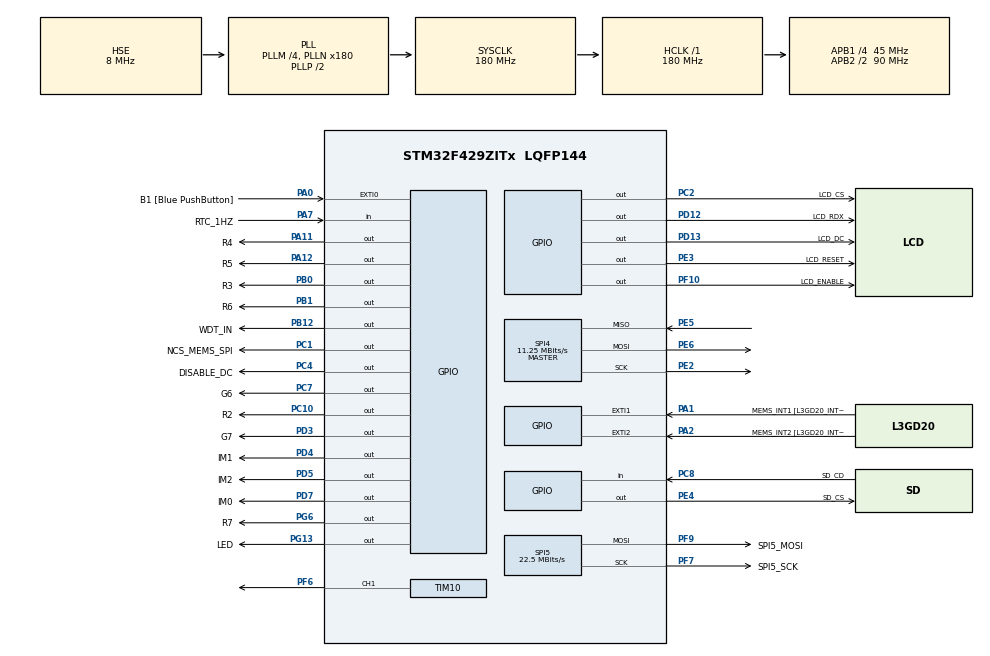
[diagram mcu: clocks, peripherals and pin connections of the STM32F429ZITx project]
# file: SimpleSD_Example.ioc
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FATFS._MAX_SS=4096
IWDG.Prescaler=IWDG_PRESCALER_256
IWDG.Reload=2500-1
Mcu.Family=STM32F4
Mcu.Name=STM32F429ZITx
Mcu.Package=LQFP144
NVIC.PriorityGroup=NVIC_PRIORITYGROUP_4
NVIC.TIM6_DAC_IRQn=true\:0\:0\:false\:false\:true\:false\:true
NVIC.TimeBase=TIM6_DAC_IRQn
NVIC.TimeBaseIP=TIM6
PA0/WKUP.GPIO_Label=B1 [Blue PushButton]
PA0/WKUP.GPIO_ModeDefaultEXTI=GPIO_MODE_EVT_RISING
PA0/WKUP.GPIO_PuPd=GPIO_NOPULL
PA0/WKUP.Signal=GPXTI0
PA1.GPIO_Label=MEMS_INT1 [L3GD20_INT1]
PA1.GPIO_ModeDefaultEXTI=GPIO_MODE_EVT_RISING
PA1.GPIO_PuPd=GPIO_NOPULL
PA1.Signal=GPXTI1
PA11.GPIO_Label=R4
PA11.Signal=GPIO_Output
PA12.GPIO_Label=R5
PA12.Signal=GPIO_Output
PA13.GPIO_Label=SWDIO
PA13.Mode=Serial_Wire
PA13.Signal=SYS_JTMS-SWDIO
PA14.GPIO_Label=SWCLK
PA14.Mode=Serial_Wire
PA14.Signal=SYS_JTCK-SWCLK
PA2.GPIO_Label=MEMS_INT2 [L3GD20_INT2]
PA2.GPIO_ModeDefaultEXTI=GPIO_MODE_EVT_RISING
PA2.GPIO_PuPd=GPIO_NOPULL
PA2.Signal=GPXTI2
PA7.GPIO_Label=RTC_1HZ
PA7.Signal=GPIO_Input
PB0.GPIO_Label=R3
PB0.Signal=GPIO_Output
PB1.GPIO_Label=R6
PB1.Signal=GPIO_Output
PB12.GPIO_Label=WDT_IN
PB12.GPIO_Speed=GPIO_SPEED_FREQ_HIGH
PB12.Signal=GPIO_Output
PC1.GPIO_Label=NCS_MEMS_SPI
PC1.GPIO_Mode=GPIO_MODE_OUTPUT_PP
PC1.GPIO_PuPd=GPIO_NOPULL
PC1.GPIO_Speed=GPIO_SPEED_FREQ_LOW
PC1.Signal=GPIO_Output
PC10.GPIO_Label=R2
PC10.Signal=GPIO_Output
PC2.GPIO_Label=LCD_CS
PC2.GPIO_Mode=GPIO_MODE_OUTPUT_PP
PC2.GPIO_PuPd=GPIO_NOPULL
PC2.GPIO_Speed=GPIO_SPEED_FREQ_LOW
PC2.Signal=GPIO_Output
PC4.GPIO_Label=DISABLE_DC
PC4.PinState=GPIO_PIN_SET
PC4.Signal=GPIO_Output
PC7.GPIO_Label=G6
PC7.Signal=GPIO_Output
PC8.GPIO_Label=SD_CD
PC8.Signal=GPIO_Input
PD12.GPIO_Label=LCD_RDX
PD12.GPIO_Mode=GPIO_MODE_OUTPUT_PP
PD12.GPIO_PuPd=GPIO_NOPULL
PD12.GPIO_Speed=GPIO_SPEED_FREQ_VERY_HIGH
PD12.Signal=GPIO_Output
PD13.GPIO_Label=LCD_DC
PD13.GPIO_Mode=GPIO_MODE_OUTPUT_PP
PD13.GPIO_PuPd=GPIO_NOPULL
PD13.GPIO_Speed=GPIO_SPEED_FREQ_VERY_HIGH
PD13.Signal=GPIO_Output
PD3.GPIO_Label=G7
PD3.Signal=GPIO_Output
PD4.GPIO_Label=IM1
PD4.PinState=GPIO_PIN_SET
PD4.Signal=GPIO_Output
PD5.GPIO_Label=IM2
PD5.PinState=GPIO_PIN_SET
PD5.Signal=GPIO_Output
PD7.GPIO_Label=IM0
PD7.PinState=GPIO_PIN_SET
PD7.Signal=GPIO_Output
PE2.Mode=Full_Duplex_Master
PE2.Signal=SPI4_SCK
PE3.GPIO_Label=LCD_RESET
PE3.Signal=GPIO_Output
PE4.GPIO_Label=SD_CS
PE4.GPIO_Speed=GPIO_SPEED_FREQ_VERY_HIGH
PE4.Signal=GPIO_Output
PE5.Mode=Full_Duplex_Master
PE5.Signal=SPI4_MISO
PE6.Mode=Full_Duplex_Master
PE6.Signal=SPI4_MOSI
PF10.GPIO_Label=LCD_ENABLE
PF10.Signal=GPIO_Output
PF6.Signal=S_TIM10_CH1
PF7.GPIO_Label=SPI5_SCK 
PF7.GPIO_Mode=GPIO_MODE_AF_PP
PF7.GPIO_PuPd=GPIO_NOPULL
PF7.GPIO_Speed=GPIO_SPEED_FREQ_LOW
PF7.Mode=TX_Only_Simplex_Unidirect_Master
PF7.Signal=SPI5_SCK
PF9.GPIO_Label=SPI5_MOSI
PF9.GPIO_Mode=GPIO_MODE_AF_PP
PF9.GPIO_PuPd=GPIO_NOPULL
PF9.GPIO_Speed=GPIO_SPEED_FREQ_LOW
PF9.Mode=TX_Only_Simplex_Unidirect_Master
PF9.Signal=SPI5_MOSI
PG13.GPIO_Label=LED
PG13.GPIO_Mode=GPIO_MODE_OUTPUT_PP
PG13.GPIO_PuPd=GPIO_NOPULL
PG13.GPIO_Speed=GPIO_SPEED_FREQ_LOW
PG13.Signal=GPIO_Output
PG6.GPIO_Label=R7
PG6.Signal=GPIO_Output
PH0/OSC_IN.GPIO_Label=PH0-OSC_IN
PH0/OSC_IN.Mode=HSE-External-Oscillator
PH0/OSC_IN.Signal=RCC_OSC_IN
PH1/OSC_OUT.GPIO_Label=PH1-OSC_OUT
PH1/OSC_OUT.Mode=HSE-External-Oscillator
PH1/OSC_OUT.Signal=RCC_OSC_OUT
ProjectManager.HeapSize=0x200
ProjectManager.StackSize=0x800
ProjectManager.TargetToolchain=STM32CubeIDE
RCC.48MHZClocksFreq_Value=120000000
RCC.AHBFreq_Value=180000000
RCC.APB1CLKDivider=RCC_HCLK_DIV4
RCC.APB1Freq_Value=45000000
RCC.APB1TimFreq_Value=90000000
RCC.APB2CLKDivider=RCC_HCLK_DIV2
RCC.APB2Freq_Value=90000000
RCC.APB2TimFreq_Value=180000000
RCC.CortexFreq_Value=180000000
RCC.HCLKFreq_Value=180000000
RCC.HSE_VALUE=8000000
RCC.HSI_VALUE=16000000
RCC.LSE_VALUE=32768
RCC.PLLM=4
RCC.PLLN=180
RCC.PLLQ=3
RCC.PLLSAIN=50
RCC.PLLSourceVirtual=RCC_PLLSOURCE_HSE
RCC.SYSCLKFreq_VALUE=180000000
RCC.SYSCLKSource=RCC_SYSCLKSOURCE_PLLCLK
RCC.VCOOutputFreq_Value=360000000
SH.S_TIM10_CH1.0=TIM10_CH1,Output Compare1 CH1
SPI4.BaudRatePrescaler=SPI_BAUDRATEPRESCALER_8
SPI4.CalculateBaudRate=11.25 MBits/s
SPI4.Direction=SPI_DIRECTION_2LINES
SPI4.Mode=SPI_MODE_MASTER
SPI4.VirtualType=VM_MASTER
SPI5.BaudRatePrescaler=SPI_BAUDRATEPRESCALER_4
SPI5.CalculateBaudRate=22.5 MBits/s
SPI5.Direction=SPI_DIRECTION_2LINES
SPI5.Mode=SPI_MODE_MASTER
SPI5.VirtualType=VM_MASTER
TIM10.Channel=TIM_CHANNEL_1
TIM10.Period=1000
TIM10.Prescaler=180-1
VP_CRC_VS_CRC.Mode=CRC_Activate
VP_FATFS_VS_Generic.Mode=User_defined
VP_IWDG_VS_IWDG.Mode=IWDG_Activate
VP_SYS_VS_tim6.Mode=TIM6
VP_TIM10_VS_ClockSourceINT.Mode=Enable_Timer
board=STM32F429I-DISC1

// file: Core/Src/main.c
/* USER CODE BEGIN Header */
/**
  ******************************************************************************
  * @file           : main.c
  * @brief          : Main program body
  ******************************************************************************
  * @attention
  *
  * <h2><center>&copy; Copyright (c) 2020 STMicroelectronics.
  * All rights reserved.</center></h2>
  *
  * This software component is licensed by ST under Ultimate Liberty license
  * SLA0044, the "License"; You may not use this file except in compliance with
  * the License. You may obtain a copy of the License at:
  *                             www.st.com/SLA0044
  *
  ******************************************************************************
  */
/* USER CODE END Header */

#include "main.h"
#include "fatfs.h"

/* USER CODE BEGIN Includes */
#include "SimpleSD_bootloader.h"
#include "stm32f4xx_hal_flash_ex.h"
#include "fatfs_sd.h"
#include "stdint.h"
/* USER CODE END Includes */

CRC_HandleTypeDef hcrc;

IWDG_HandleTypeDef hiwdg;

SPI_HandleTypeDef hspi4;
SPI_HandleTypeDef hspi5;

TIM_HandleTypeDef htim10;

void SystemClock_Config(void);
static void MX_GPIO_Init(void);
static void MX_CRC_Init(void);
static void MX_SPI4_Init(void);
static void MX_SPI5_Init(void);
static void MX_TIM10_Init(void);
static void MX_IWDG_Init(void);

/* USER CODE BEGIN 0 */

void SDTimer_Handler(void);
uint8_t UpgradeFirmware = 0;
uint16_t WaitingTrigger;
__IO uint8_t Timer1, Timer2;
/* USER CODE END 0 */

int main(void)
{

  /* MCU Configuration--------------------------------------------------------*/

  /* Reset of all peripherals, Initializes the Flash interface and the Systick. */
  HAL_Init();

  /* Configure the system clock */
  SystemClock_Config();

  /* Initialize all configured peripherals */
  MX_GPIO_Init();
  MX_CRC_Init();
  MX_SPI4_Init();
  MX_SPI5_Init();
  MX_TIM10_Init();
  MX_FATFS_Init();
  MX_IWDG_Init();
  /* USER CODE BEGIN 2 */
  SimpleSD_ModeLED(SIMPLESD_LED_10HZ_MODE);
  HAL_Delay(200);

  /* Wait until trigger to start firmware upgrade comes */
  WaitingTrigger = BOOTLOADER_TRIGGER_TIME;
  while(WaitingTrigger != 0) {
#if SD_WATCHDOG_RUNNING
	  HAL_IWDG_Refresh(&hiwdg);
#endif
	  /* Trigger to start upgrade. Could be a Button, a UART packet etc */
	  if(0) {
		  UpgradeFirmware = 1;
	  }
  }

  /* Check if firmware upgrade pending */
  if(UpgradeFirmware) {
	  /* Start firmware upgrade and jump to main application in case of success */
	  if(SimpleSD_FirmwareUpgrade() == SIMPLESD_OK) {
	  		  SimpleSD_JumpToMainFirmware();
	  }
  }
  else {
	  /* No trigger for firmware upgrade, jump to main application if CRC is correct */
	  if(SimpleSD_CRC_Check() == SIMPLESD_CRC_SAME) {
	  	  SimpleSD_JumpToMainFirmware();
	    }
  }

  /* Toggle LED with 0.5Hz frequency*/
  SimpleSD_ModeLED(SIMPLESD_LED_0_5_HZ_MODE);

  #if SD_WATCHDOG_RUNNING
  HAL_IWDG_Refresh(&hiwdg);
  #endif

  /* USER CODE END 2 */

  /* Infinite loop */
  while (1)
  {

    /* USER CODE BEGIN 3 */

	/*
	 * We are here due to firmware upgrade error or CRC error. Handle the error !
	 * In case of activated IWDG, reset will occur.
	*/
  }
  /* USER CODE END 3 */
}

void SystemClock_Config(void)
{
  RCC_OscInitTypeDef RCC_OscInitStruct = {0};
  RCC_ClkInitTypeDef RCC_ClkInitStruct = {0};

  /** Configure the main internal regulator output voltage
  */
  __HAL_RCC_PWR_CLK_ENABLE();
  __HAL_PWR_VOLTAGESCALING_CONFIG(PWR_REGULATOR_VOLTAGE_SCALE1);
  /** Initializes the CPU, AHB and APB busses clocks
  */
  RCC_OscInitStruct.OscillatorType = RCC_OSCILLATORTYPE_LSI|RCC_OSCILLATORTYPE_HSE;
  RCC_OscInitStruct.HSEState = RCC_HSE_ON;
  RCC_OscInitStruct.LSIState = RCC_LSI_ON;
  RCC_OscInitStruct.PLL.PLLState = RCC_PLL_ON;
  RCC_OscInitStruct.PLL.PLLSource = RCC_PLLSOURCE_HSE;
  RCC_OscInitStruct.PLL.PLLM = 4;
  RCC_OscInitStruct.PLL.PLLN = 180;
  RCC_OscInitStruct.PLL.PLLP = RCC_PLLP_DIV2;
  RCC_OscInitStruct.PLL.PLLQ = 3;
  if (HAL_RCC_OscConfig(&RCC_OscInitStruct) != HAL_OK)
  {
    Error_Handler();
  }
  /** Activate the Over-Drive mode
  */
  if (HAL_PWREx_EnableOverDrive() != HAL_OK)
  {
    Error_Handler();
  }
  /** Initializes the CPU, AHB and APB busses clocks
  */
  RCC_ClkInitStruct.ClockType = RCC_CLOCKTYPE_HCLK|RCC_CLOCKTYPE_SYSCLK
                              |RCC_CLOCKTYPE_PCLK1|RCC_CLOCKTYPE_PCLK2;
  RCC_ClkInitStruct.SYSCLKSource = RCC_SYSCLKSOURCE_PLLCLK;
  RCC_ClkInitStruct.AHBCLKDivider = RCC_SYSCLK_DIV1;
  RCC_ClkInitStruct.APB1CLKDivider = RCC_HCLK_DIV4;
  RCC_ClkInitStruct.APB2CLKDivider = RCC_HCLK_DIV2;

  if (HAL_RCC_ClockConfig(&RCC_ClkInitStruct, FLASH_LATENCY_5) != HAL_OK)
  {
    Error_Handler();
  }
}

static void MX_CRC_Init(void)
{

  hcrc.Instance = CRC;
  if (HAL_CRC_Init(&hcrc) != HAL_OK)
  {
    Error_Handler();
  }

}

static void MX_IWDG_Init(void)
{

  hiwdg.Instance = IWDG;
  hiwdg.Init.Prescaler = IWDG_PRESCALER_256;
  hiwdg.Init.Reload = 2500-1;
  if (HAL_IWDG_Init(&hiwdg) != HAL_OK)
  {
    Error_Handler();
  }

}

static void MX_SPI4_Init(void)
{

  /* SPI4 parameter configuration*/
  hspi4.Instance = SPI4;
  hspi4.Init.Mode = SPI_MODE_MASTER;
  hspi4.Init.Direction = SPI_DIRECTION_2LINES;
  hspi4.Init.DataSize = SPI_DATASIZE_8BIT;
  hspi4.Init.CLKPolarity = SPI_POLARITY_LOW;
  hspi4.Init.CLKPhase = SPI_PHASE_1EDGE;
  hspi4.Init.NSS = SPI_NSS_SOFT;
  hspi4.Init.BaudRatePrescaler = SPI_BAUDRATEPRESCALER_8;
  hspi4.Init.FirstBit = SPI_FIRSTBIT_MSB;
  hspi4.Init.TIMode = SPI_TIMODE_DISABLE;
  hspi4.Init.CRCCalculation = SPI_CRCCALCULATION_DISABLE;
  hspi4.Init.CRCPolynomial = 10;
  if (HAL_SPI_Init(&hspi4) != HAL_OK)
  {
    Error_Handler();
  }

}

static void MX_SPI5_Init(void)
{

  /* SPI5 parameter configuration*/
  hspi5.Instance = SPI5;
  hspi5.Init.Mode = SPI_MODE_MASTER;
  hspi5.Init.Direction = SPI_DIRECTION_2LINES;
  hspi5.Init.DataSize = SPI_DATASIZE_8BIT;
  hspi5.Init.CLKPolarity = SPI_POLARITY_LOW;
  hspi5.Init.CLKPhase = SPI_PHASE_1EDGE;
  hspi5.Init.NSS = SPI_NSS_SOFT;
  hspi5.Init.BaudRatePrescaler = SPI_BAUDRATEPRESCALER_4;
  hspi5.Init.FirstBit = SPI_FIRSTBIT_MSB;
  hspi5.Init.TIMode = SPI_TIMODE_DISABLE;
  hspi5.Init.CRCCalculation = SPI_CRCCALCULATION_DISABLE;
  hspi5.Init.CRCPolynomial = 10;
  if (HAL_SPI_Init(&hspi5) != HAL_OK)
  {
    Error_Handler();
  }

}

static void MX_TIM10_Init(void)
{

  TIM_OC_InitTypeDef sConfigOC = {0};

  htim10.Instance = TIM10;
  htim10.Init.Prescaler = 180-1;
  htim10.Init.CounterMode = TIM_COUNTERMODE_UP;
  htim10.Init.Period = 1000;
  htim10.Init.ClockDivision = TIM_CLOCKDIVISION_DIV1;
  htim10.Init.AutoReloadPreload = TIM_AUTORELOAD_PRELOAD_DISABLE;
  if (HAL_TIM_Base_Init(&htim10) != HAL_OK)
  {
    Error_Handler();
  }
  if (HAL_TIM_OC_Init(&htim10) != HAL_OK)
  {
    Error_Handler();
  }
  sConfigOC.OCMode = TIM_OCMODE_TIMING;
  sConfigOC.Pulse = 0;
  sConfigOC.OCPolarity = TIM_OCPOLARITY_HIGH;
  sConfigOC.OCFastMode = TIM_OCFAST_DISABLE;
  if (HAL_TIM_OC_ConfigChannel(&htim10, &sConfigOC, TIM_CHANNEL_1) != HAL_OK)
  {
    Error_Handler();
  }
  HAL_TIM_MspPostInit(&htim10);

}

static void MX_GPIO_Init(void)
{
  GPIO_InitTypeDef GPIO_InitStruct = {0};

  /* GPIO Ports Clock Enable */
  __HAL_RCC_GPIOE_CLK_ENABLE();
  __HAL_RCC_GPIOF_CLK_ENABLE();
  __HAL_RCC_GPIOH_CLK_ENABLE();
  __HAL_RCC_GPIOC_CLK_ENABLE();
  __HAL_RCC_GPIOA_CLK_ENABLE();
  __HAL_RCC_GPIOB_CLK_ENABLE();
  __HAL_RCC_GPIOD_CLK_ENABLE();
  __HAL_RCC_GPIOG_CLK_ENABLE();

  /*Configure GPIO pin Output Level */
  HAL_GPIO_WritePin(GPIOE, LCD_RESET_Pin|SD_CS_Pin, GPIO_PIN_RESET);

  /*Configure GPIO pin Output Level */
  HAL_GPIO_WritePin(LCD_ENABLE_GPIO_Port, LCD_ENABLE_Pin, GPIO_PIN_RESET);

  /*Configure GPIO pin Output Level */
  HAL_GPIO_WritePin(GPIOC, NCS_MEMS_SPI_Pin|LCD_CS_Pin|G6_Pin|R2_Pin, GPIO_PIN_RESET);

  /*Configure GPIO pin Output Level */
  HAL_GPIO_WritePin(DISABLE_DC_GPIO_Port, DISABLE_DC_Pin, GPIO_PIN_SET);

  /*Configure GPIO pin Output Level */
  HAL_GPIO_WritePin(GPIOB, R3_Pin|R6_Pin|WDT_IN_Pin, GPIO_PIN_RESET);

  /*Configure GPIO pin Output Level */
  HAL_GPIO_WritePin(GPIOD, LCD_RDX_Pin|LCD_DC_Pin|G7_Pin, GPIO_PIN_RESET);

  /*Configure GPIO pin Output Level */
  HAL_GPIO_WritePin(GPIOG, R7_Pin|LED_Pin, GPIO_PIN_RESET);

  /*Configure GPIO pin Output Level */
  HAL_GPIO_WritePin(GPIOA, R4_Pin|R5_Pin, GPIO_PIN_RESET);

  /*Configure GPIO pin Output Level */
  HAL_GPIO_WritePin(GPIOD, IM1_Pin|IM2_Pin|IM0_Pin, GPIO_PIN_SET);

  /*Configure GPIO pin : LCD_RESET_Pin */
  GPIO_InitStruct.Pin = LCD_RESET_Pin;
  GPIO_InitStruct.Mode = GPIO_MODE_OUTPUT_PP;
  GPIO_InitStruct.Pull = GPIO_NOPULL;
  GPIO_InitStruct.Speed = GPIO_SPEED_FREQ_LOW;
  HAL_GPIO_Init(LCD_RESET_GPIO_Port, &GPIO_InitStruct);

  /*Configure GPIO pin : SD_CS_Pin */
  GPIO_InitStruct.Pin = SD_CS_Pin;
  GPIO_InitStruct.Mode = GPIO_MODE_OUTPUT_PP;
  GPIO_InitStruct.Pull = GPIO_NOPULL;
  GPIO_InitStruct.Speed = GPIO_SPEED_FREQ_VERY_HIGH;
  HAL_GPIO_Init(SD_CS_GPIO_Port, &GPIO_InitStruct);

  /*Configure GPIO pin : LCD_ENABLE_Pin */
  GPIO_InitStruct.Pin = LCD_ENABLE_Pin;
  GPIO_InitStruct.Mode = GPIO_MODE_OUTPUT_PP;
  GPIO_InitStruct.Pull = GPIO_NOPULL;
  GPIO_InitStruct.Speed = GPIO_SPEED_FREQ_LOW;
  HAL_GPIO_Init(LCD_ENABLE_GPIO_Port, &GPIO_InitStruct);

  /*Configure GPIO pins : NCS_MEMS_SPI_Pin LCD_CS_Pin DISABLE_DC_Pin G6_Pin
                           R2_Pin */
  GPIO_InitStruct.Pin = NCS_MEMS_SPI_Pin|LCD_CS_Pin|DISABLE_DC_Pin|G6_Pin
                          |R2_Pin;
  GPIO_InitStruct.Mode = GPIO_MODE_OUTPUT_PP;
  GPIO_InitStruct.Pull = GPIO_NOPULL;
  GPIO_InitStruct.Speed = GPIO_SPEED_FREQ_LOW;
  HAL_GPIO_Init(GPIOC, &GPIO_InitStruct);

  /*Configure GPIO pins : B1_Pin MEMS_INT1_Pin MEMS_INT2_Pin */
  GPIO_InitStruct.Pin = B1_Pin|MEMS_INT1_Pin|MEMS_INT2_Pin;
  GPIO_InitStruct.Mode = GPIO_MODE_EVT_RISING;
  GPIO_InitStruct.Pull = GPIO_NOPULL;
  HAL_GPIO_Init(GPIOA, &GPIO_InitStruct);

  /*Configure GPIO pin : RTC_1HZ_Pin */
  GPIO_InitStruct.Pin = RTC_1HZ_Pin;
  GPIO_InitStruct.Mode = GPIO_MODE_INPUT;
  GPIO_InitStruct.Pull = GPIO_NOPULL;
  HAL_GPIO_Init(RTC_1HZ_GPIO_Port, &GPIO_InitStruct);

  /*Configure GPIO pins : R3_Pin R6_Pin */
  GPIO_InitStruct.Pin = R3_Pin|R6_Pin;
  GPIO_InitStruct.Mode = GPIO_MODE_OUTPUT_PP;
  GPIO_InitStruct.Pull = GPIO_NOPULL;
  GPIO_InitStruct.Speed = GPIO_SPEED_FREQ_LOW;
  HAL_GPIO_Init(GPIOB, &GPIO_InitStruct);

  /*Configure GPIO pin : WDT_IN_Pin */
  GPIO_InitStruct.Pin = WDT_IN_Pin;
  GPIO_InitStruct.Mode = GPIO_MODE_OUTPUT_PP;
  GPIO_InitStruct.Pull = GPIO_NOPULL;
  GPIO_InitStruct.Speed = GPIO_SPEED_FREQ_HIGH;
  HAL_GPIO_Init(WDT_IN_GPIO_Port, &GPIO_InitStruct);

  /*Configure GPIO pins : LCD_RDX_Pin LCD_DC_Pin */
  GPIO_InitStruct.Pin = LCD_RDX_Pin|LCD_DC_Pin;
  GPIO_InitStruct.Mode = GPIO_MODE_OUTPUT_PP;
  GPIO_InitStruct.Pull = GPIO_NOPULL;
  GPIO_InitStruct.Speed = GPIO_SPEED_FREQ_VERY_HIGH;
  HAL_GPIO_Init(GPIOD, &GPIO_InitStruct);

  /*Configure GPIO pins : R7_Pin LED_Pin */
  GPIO_InitStruct.Pin = R7_Pin|LED_Pin;
  GPIO_InitStruct.Mode = GPIO_MODE_OUTPUT_PP;
  GPIO_InitStruct.Pull = GPIO_NOPULL;
  GPIO_InitStruct.Speed = GPIO_SPEED_FREQ_LOW;
  HAL_GPIO_Init(GPIOG, &GPIO_InitStruct);

  /*Configure GPIO pin : SD_CD_Pin */
  GPIO_InitStruct.Pin = SD_CD_Pin;
  GPIO_InitStruct.Mode = GPIO_MODE_INPUT;
  GPIO_InitStruct.Pull = GPIO_NOPULL;
  HAL_GPIO_Init(SD_CD_GPIO_Port, &GPIO_InitStruct);

  /*Configure GPIO pins : R4_Pin R5_Pin */
  GPIO_InitStruct.Pin = R4_Pin|R5_Pin;
  GPIO_InitStruct.Mode = GPIO_MODE_OUTPUT_PP;
  GPIO_InitStruct.Pull = GPIO_NOPULL;
  GPIO_InitStruct.Speed = GPIO_SPEED_FREQ_LOW;
  HAL_GPIO_Init(GPIOA, &GPIO_InitStruct);

  /*Configure GPIO pins : G7_Pin IM1_Pin IM2_Pin IM0_Pin */
  GPIO_InitStruct.Pin = G7_Pin|IM1_Pin|IM2_Pin|IM0_Pin;
  GPIO_InitStruct.Mode = GPIO_MODE_OUTPUT_PP;
  GPIO_InitStruct.Pull = GPIO_NOPULL;
  GPIO_InitStruct.Speed = GPIO_SPEED_FREQ_LOW;
  HAL_GPIO_Init(GPIOD, &GPIO_InitStruct);

}

/* USER CODE BEGIN 4 */
void SDTimer_Handler(void)
{
  if(Timer1 > 0) {
    Timer1--;
  }
  if(Timer2 > 0) {
    Timer2--;
  }
}
/* USER CODE END 4 */

void HAL_TIM_PeriodElapsedCallback(TIM_HandleTypeDef *htim)
{
  if (htim->Instance == TIM6) {
    HAL_IncTick();
  }
  /* USER CODE BEGIN Callback 1 */
  SimpleSD_BlinkLED();
  SDTimer_Handler();
  if(WaitingTrigger > 0) {
	  WaitingTrigger--;
  }
  /* USER CODE END Callback 1 */
}

void Error_Handler(void)
{
}

/************************ (C) COPYRIGHT STMicroelectronics *****END OF FILE****/
